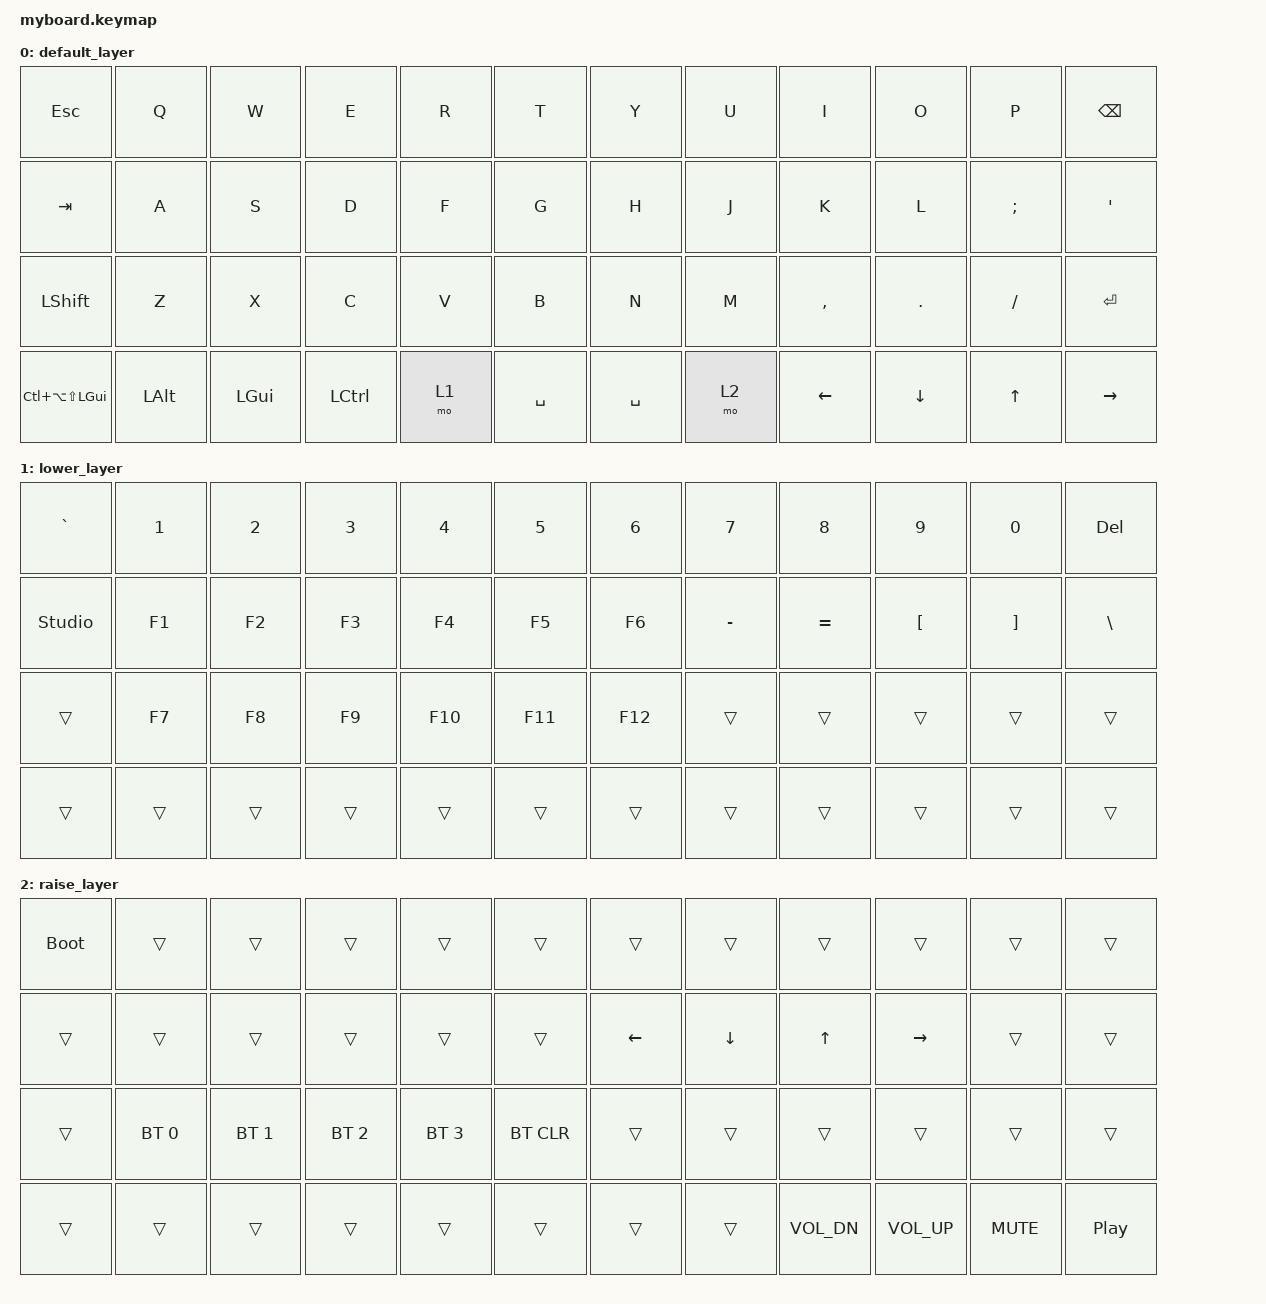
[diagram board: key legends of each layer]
#include <behaviors.dtsi>
#include <dt-bindings/zmk/keys.h>
#include <dt-bindings/zmk/bt.h>

/* Define a "Hyper" key alias for cleaner code */
/* Hyper = Ctrl + Alt + Shift + GUI */
#define HYPER LC(LA(LS(LGUI)))

/ {
    keymap {
        compatible = "zmk,keymap";

        /* LAYER 0: Base (Mac Layout) */
        default_layer {
            bindings = <
                &kp ESC    &kp Q    &kp W    &kp E     &kp R     &kp T      &kp Y     &kp U     &kp I     &kp O     &kp P     &kp BSPC
                &kp TAB    &kp A    &kp S    &kp D     &kp F     &kp G      &kp H     &kp J     &kp K     &kp L     &kp SEMI  &kp QUOT
                &kp LSHFT  &kp Z    &kp X    &kp C     &kp V     &kp B      &kp N     &kp M     &kp COMMA &kp DOT   &kp FSLH  &kp RET
/* Row 4 */     &kp HYPER  &kp LALT &kp LGUI &kp LCTRL &mo 1     &kp SPACE  &kp SPACE &mo 2     &kp LEFT  &kp DOWN  &kp UP    &kp RIGHT
            >;
        };

        /* LAYER 1: Lower (Numbers & Symbols) */
        /* Activated by Left Thumb */
        lower_layer {
            bindings = <
                &kp GRAVE  &kp N1   &kp N2   &kp N3    &kp N4    &kp N5     &kp N6    &kp N7    &kp N8    &kp N9    &kp N0    &kp DEL
                &studio_unlock     &kp F1   &kp F2   &kp F3    &kp F4    &kp F5     &kp F6    &kp MINUS &kp EQUAL &kp LBKT  &kp RBKT  &kp BSLH
                &trans     &kp F7   &kp F8   &kp F9    &kp F10   &kp F11    &kp F12   &trans    &trans    &trans    &trans    &trans
                &trans     &trans   &trans   &trans    &trans    &trans     &trans    &trans    &trans    &trans    &trans    &trans
            >;
        };

        /* LAYER 2: Raise (Media, BT, Navigation) */
        /* Activated by Right Thumb */
        raise_layer {
            bindings = <
                &bootloader  &trans       &trans       &trans       &trans       &trans         &trans    &trans    &trans    &trans    &trans    &trans
                &trans       &trans       &trans       &trans       &trans       &trans         &kp LEFT  &kp DOWN  &kp UP    &kp RIGHT &trans    &trans
                &trans       &bt BT_SEL 0 &bt BT_SEL 1 &bt BT_SEL 2 &bt BT_SEL 3 &bt BT_CLR     &trans    &trans    &trans    &trans    &trans    &trans
                &trans       &trans       &trans       &trans       &trans       &trans         &trans    &trans    &kp C_VOL_DN &kp C_VOL_UP &kp C_MUTE &kp C_PP
            >;
        };
    };
};
